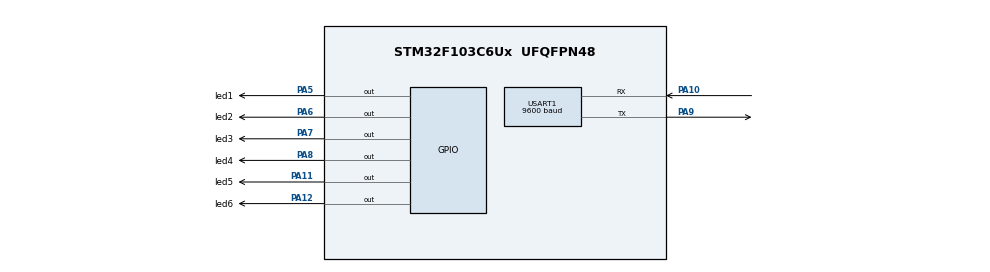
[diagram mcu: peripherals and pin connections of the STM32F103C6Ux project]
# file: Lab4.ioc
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Mcu.Family=STM32F1
Mcu.Name=STM32F103C6Ux
Mcu.Package=UFQFPN48
NVIC.PriorityGroup=NVIC_PRIORITYGROUP_4
NVIC.TIM2_IRQn=true\:0\:0\:false\:false\:true\:true\:true
NVIC.USART1_IRQn=true\:0\:0\:false\:false\:true\:true\:true
PA10.Mode=Asynchronous
PA10.Signal=USART1_RX
PA11.GPIO_Label=led5
PA11.Signal=GPIO_Output
PA12.GPIO_Label=led6
PA12.Signal=GPIO_Output
PA13.Mode=Serial_Wire
PA13.Signal=SYS_JTMS-SWDIO
PA14.Mode=Serial_Wire
PA14.Signal=SYS_JTCK-SWCLK
PA5.GPIO_Label=led1
PA5.Signal=GPIO_Output
PA6.GPIO_Label=led2
PA6.Signal=GPIO_Output
PA7.GPIO_Label=led3
PA7.Signal=GPIO_Output
PA8.GPIO_Label=led4
PA8.Signal=GPIO_Output
PA9.Mode=Asynchronous
PA9.Signal=USART1_TX
ProjectManager.HeapSize=0x200
ProjectManager.StackSize=0x400
ProjectManager.TargetToolchain=STM32CubeIDE
RCC.APB1Freq_Value=8000000
RCC.APB2Freq_Value=8000000
TIM2.Period=9
TIM2.Prescaler=7999
USART1.BaudRate=9600
USART1.VirtualMode=VM_ASYNC
VP_TIM2_VS_ClockSourceINT.Mode=Internal
board=custom

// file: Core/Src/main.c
/* USER CODE BEGIN Header */
/**
  ******************************************************************************
  * @file           : main.c
  * @brief          : Main program body
  ******************************************************************************
  * @attention
  *
  * <h2><center>&copy; Copyright (c) 2023 STMicroelectronics.
  * All rights reserved.</center></h2>
  *
  * This software component is licensed by ST under BSD 3-Clause license,
  * the "License"; You may not use this file except in compliance with the
  * License. You may obtain a copy of the License at:
  *                        opensource.org/licenses/BSD-3-Clause
  *
  ******************************************************************************
  */
/* USER CODE END Header */
#include "main.h"

/* USER CODE BEGIN Includes */
#include "Scheduler.h"
#include <stdio.h>
#include <string.h>
/* USER CODE END Includes */

TIM_HandleTypeDef htim2;

UART_HandleTypeDef huart1;

void SystemClock_Config(void);
static void MX_TIM2_Init(void);
static void MX_GPIO_Init(void);
static void MX_USART1_UART_Init(void);

/* USER CODE BEGIN 0 */
//const unsigned char arr[] = "hello ";
int counter = 0;
void Counter(){
	counter++;
}

void blinking1(){
	const unsigned char arr[20] = "Task 1 : ";
	HAL_UART_Transmit(&huart1, arr, sizeof(arr), 1000);
	char temp[20];
	sprintf(temp, "%dms\r\n", counter*10);
	HAL_UART_Transmit(&huart1, (uint8_t*)temp, strlen(temp), 1000);
	HAL_GPIO_TogglePin(led1_GPIO_Port, led1_Pin);
}

void blinking2(){
	const unsigned char arr[20] = "Task 2 : ";
	HAL_UART_Transmit(&huart1, arr, sizeof(arr), 1000);
	char temp[20];
	sprintf(temp, "%dms\r\n", counter*10);
	HAL_UART_Transmit(&huart1, (uint8_t*)temp, strlen(temp), 1000);
	HAL_GPIO_TogglePin(led2_GPIO_Port, led2_Pin);
}

void blinking3(){
	const unsigned char arr[20] = "Task 3 : ";
	HAL_UART_Transmit(&huart1, arr, sizeof(arr), 1000);
	char temp[20];
	sprintf(temp, "%dms\r\n", counter*10);
	HAL_UART_Transmit(&huart1, (uint8_t*)temp, strlen(temp), 1000);
	HAL_GPIO_TogglePin(led3_GPIO_Port, led3_Pin);
}

void blinking4(){
	const unsigned char arr[20] = "Task 4 : ";
	HAL_UART_Transmit(&huart1, arr, sizeof(arr), 1000);
	char temp[20];
	sprintf(temp, "%dms\r\n", counter*10);
	HAL_UART_Transmit(&huart1, (uint8_t*)temp, strlen(temp), 1000);
	HAL_GPIO_TogglePin(led4_GPIO_Port, led4_Pin);
}

void blinking5(){
	const unsigned char arr[20] = "Task 5 : ";
	HAL_UART_Transmit(&huart1, arr, sizeof(arr), 1000);
	char temp[20];
	sprintf(temp, "%dms\r\n", counter*10);
	HAL_UART_Transmit(&huart1, (uint8_t*)temp, strlen(temp), 1000);
	HAL_GPIO_TogglePin(led5_GPIO_Port, led5_Pin);
}

void blinking6(){
	const unsigned char arr[20] = "Task 6 : ";
	HAL_UART_Transmit(&huart1, arr, sizeof(arr), 1000);
	char temp[20];
	sprintf(temp, "%dms\r\n", counter*10);
	HAL_UART_Transmit(&huart1, (uint8_t*)temp, strlen(temp), 1000);
	HAL_GPIO_TogglePin(led6_GPIO_Port, led6_Pin);
}
/* USER CODE END 0 */

int main(void)
{

  /* MCU Configuration--------------------------------------------------------*/

  /* Reset of all peripherals, Initializes the Flash interface and the Systick. */
  HAL_Init();

  /* Configure the system clock */
  SystemClock_Config();

  /* Initialize all configured peripherals */
  MX_TIM2_Init();
  MX_GPIO_Init();
  MX_USART1_UART_Init();
  /* USER CODE BEGIN 2 */
  HAL_TIM_Base_Start_IT(&htim2);
  SCH_Init();
  /* USER CODE END 2 */

  /* Infinite loop */
  /* USER CODE BEGIN WHILE */
  SCH_Add_Task(Counter, 0, 1);
  SCH_Add_Task(blinking1, 50, 50);
  SCH_Add_Task(blinking2, 100, 100);
  SCH_Add_Task(blinking3, 150, 150);
  SCH_Add_Task(blinking4, 200, 200);
  SCH_Add_Task(blinking5, 250, 250);
  SCH_Add_Task(blinking6, 250, 0);
  while (1)
  {

    /* USER CODE END WHILE */

    /* USER CODE BEGIN 3 */
	  SCH_Dispatch_Tasks();
  }
  /* USER CODE END 3 */
}

void SystemClock_Config(void)
{
  RCC_OscInitTypeDef RCC_OscInitStruct = {0};
  RCC_ClkInitTypeDef RCC_ClkInitStruct = {0};

  /** Initializes the RCC Oscillators according to the specified parameters
  * in the RCC_OscInitTypeDef structure.
  */
  RCC_OscInitStruct.OscillatorType = RCC_OSCILLATORTYPE_HSI;
  RCC_OscInitStruct.HSIState = RCC_HSI_ON;
  RCC_OscInitStruct.HSICalibrationValue = RCC_HSICALIBRATION_DEFAULT;
  RCC_OscInitStruct.PLL.PLLState = RCC_PLL_NONE;
  if (HAL_RCC_OscConfig(&RCC_OscInitStruct) != HAL_OK)
  {
    Error_Handler();
  }
  /** Initializes the CPU, AHB and APB buses clocks
  */
  RCC_ClkInitStruct.ClockType = RCC_CLOCKTYPE_HCLK|RCC_CLOCKTYPE_SYSCLK
                              |RCC_CLOCKTYPE_PCLK1|RCC_CLOCKTYPE_PCLK2;
  RCC_ClkInitStruct.SYSCLKSource = RCC_SYSCLKSOURCE_HSI;
  RCC_ClkInitStruct.AHBCLKDivider = RCC_SYSCLK_DIV1;
  RCC_ClkInitStruct.APB1CLKDivider = RCC_HCLK_DIV1;
  RCC_ClkInitStruct.APB2CLKDivider = RCC_HCLK_DIV1;

  if (HAL_RCC_ClockConfig(&RCC_ClkInitStruct, FLASH_LATENCY_0) != HAL_OK)
  {
    Error_Handler();
  }
}

static void MX_TIM2_Init(void)
{

  TIM_ClockConfigTypeDef sClockSourceConfig = {0};
  TIM_MasterConfigTypeDef sMasterConfig = {0};

  htim2.Instance = TIM2;
  htim2.Init.Prescaler = 7999;
  htim2.Init.CounterMode = TIM_COUNTERMODE_UP;
  htim2.Init.Period = 9;
  htim2.Init.ClockDivision = TIM_CLOCKDIVISION_DIV1;
  htim2.Init.AutoReloadPreload = TIM_AUTORELOAD_PRELOAD_DISABLE;
  if (HAL_TIM_Base_Init(&htim2) != HAL_OK)
  {
    Error_Handler();
  }
  sClockSourceConfig.ClockSource = TIM_CLOCKSOURCE_INTERNAL;
  if (HAL_TIM_ConfigClockSource(&htim2, &sClockSourceConfig) != HAL_OK)
  {
    Error_Handler();
  }
  sMasterConfig.MasterOutputTrigger = TIM_TRGO_RESET;
  sMasterConfig.MasterSlaveMode = TIM_MASTERSLAVEMODE_DISABLE;
  if (HAL_TIMEx_MasterConfigSynchronization(&htim2, &sMasterConfig) != HAL_OK)
  {
    Error_Handler();
  }

}

static void MX_USART1_UART_Init(void)
{

  huart1.Instance = USART1;
  huart1.Init.BaudRate = 9600;
  huart1.Init.WordLength = UART_WORDLENGTH_8B;
  huart1.Init.StopBits = UART_STOPBITS_1;
  huart1.Init.Parity = UART_PARITY_NONE;
  huart1.Init.Mode = UART_MODE_TX_RX;
  huart1.Init.HwFlowCtl = UART_HWCONTROL_NONE;
  huart1.Init.OverSampling = UART_OVERSAMPLING_16;
  if (HAL_UART_Init(&huart1) != HAL_OK)
  {
    Error_Handler();
  }

}

static void MX_GPIO_Init(void)
{
  GPIO_InitTypeDef GPIO_InitStruct = {0};

  /* GPIO Ports Clock Enable */
  __HAL_RCC_GPIOA_CLK_ENABLE();

  /*Configure GPIO pin Output Level */
  HAL_GPIO_WritePin(GPIOA, led1_Pin|led2_Pin|led3_Pin|led4_Pin
                          |led5_Pin|led6_Pin, GPIO_PIN_RESET);

  /*Configure GPIO pins : led1_Pin led2_Pin led3_Pin led4_Pin
                           led5_Pin led6_Pin */
  GPIO_InitStruct.Pin = led1_Pin|led2_Pin|led3_Pin|led4_Pin
                          |led5_Pin|led6_Pin;
  GPIO_InitStruct.Mode = GPIO_MODE_OUTPUT_PP;
  GPIO_InitStruct.Pull = GPIO_NOPULL;
  GPIO_InitStruct.Speed = GPIO_SPEED_FREQ_LOW;
  HAL_GPIO_Init(GPIOA, &GPIO_InitStruct);

}

/* USER CODE BEGIN 4 */
void HAL_TIM_PeriodElapsedCallback(TIM_HandleTypeDef *htim){
	SCH_Update();
}
/* USER CODE END 4 */

void Error_Handler(void)
{
  __disable_irq();
  while (1)
  {
  }
}

/************************ (C) COPYRIGHT STMicroelectronics *****END OF FILE****/
